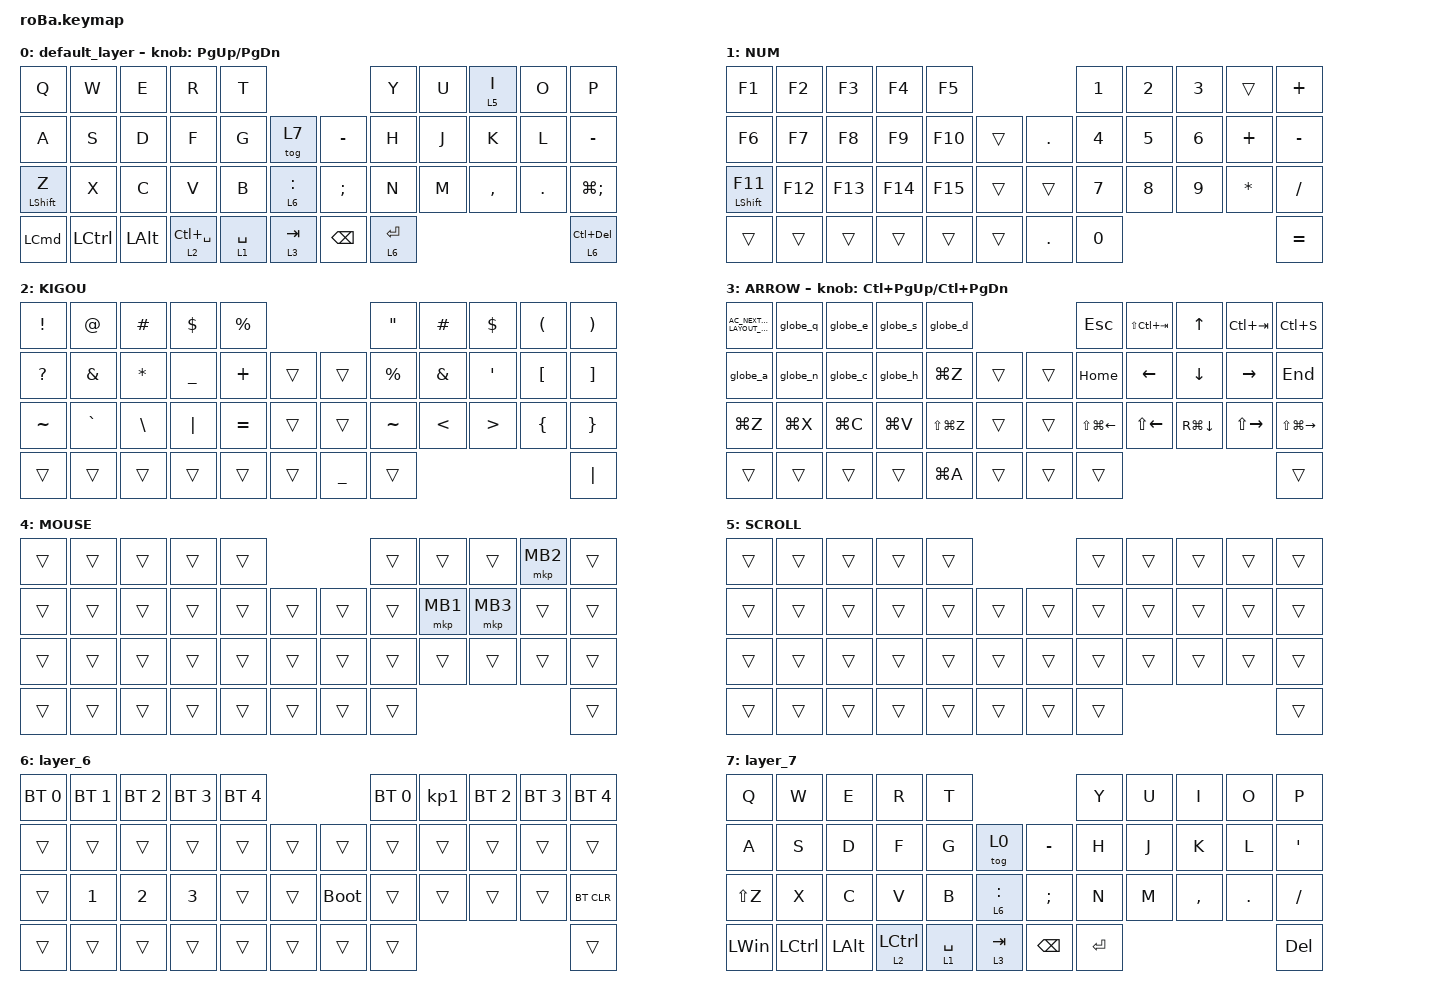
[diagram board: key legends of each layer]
#include <behaviors.dtsi>
#include <dt-bindings/zmk/bt.h>
#include <dt-bindings/zmk/keys.h>
#include <dt-bindings/zmk/pointing.h>

&mt {
    flavor = "balanced";
    quick-tap-ms = <0>;
};

&trackball {
    automouse-layer = <4>;
    scroll-layers = <5>;
};

/ {
    combos {
        compatible = "zmk,combos";

        tab {
            bindings = <&kp TAB>;
            key-positions = <11 12>;
        };

        shift_tab {
            bindings = <&kp LS(TAB)>;
            key-positions = <12 13>;
        };

        muhennkann {
            bindings = <&to_layer_0 INT_MUHENKAN>;
            key-positions = <11 10>;
        };

        double_quotation {
            bindings = <&kp DOUBLE_QUOTES>;
            key-positions = <20 21>;
        };

        eq {
            bindings = <&kp EQUAL>;
            key-positions = <24 25>;
        };
    };

    macros {
        to_layer_0: to_layer_0 {
            compatible = "zmk,behavior-macro-one-param";
            #binding-cells = <1>;
            bindings = <&to 0 &macro_param_1to1 &kp MACRO_PLACEHOLDER>;
            label = "TO_LAYER_0";
        };

        globe_h: globe_h {
            compatible = "zmk,behavior-macro";
            #binding-cells = <0>;
            wait-ms = <30>;
            tap-ms = <30>;
            bindings =
                <&macro_press>,
                <&kp C_AC_NEXT_KEYBOARD_LAYOUT_SELECT>,
                <&macro_tap>,
                <&kp H>,
                <&macro_release>,
                <&kp C_AC_NEXT_KEYBOARD_LAYOUT_SELECT>;

            label = "GLOBE_H";
        };

        globe_q: globe_q {
            compatible = "zmk,behavior-macro";
            #binding-cells = <0>;
            wait-ms = <30>;
            tap-ms = <30>;
            bindings =
                <&macro_press>,
                <&kp C_AC_NEXT_KEYBOARD_LAYOUT_SELECT>,
                <&macro_tap>,
                <&kp Q>,
                <&macro_release>,
                <&kp C_AC_NEXT_KEYBOARD_LAYOUT_SELECT>;

            label = "GLOBE_Q";
        };

        globe_s: globe_s {
            compatible = "zmk,behavior-macro";
            #binding-cells = <0>;
            wait-ms = <30>;
            tap-ms = <30>;
            bindings =
                <&macro_press>,
                <&kp C_AC_NEXT_KEYBOARD_LAYOUT_SELECT>,
                <&macro_tap>,
                <&kp S>,
                <&macro_release>,
                <&kp C_AC_NEXT_KEYBOARD_LAYOUT_SELECT>;

            label = "GLOBE_S";
        };

        globe_c: globe_c {
            compatible = "zmk,behavior-macro";
            #binding-cells = <0>;
            wait-ms = <30>;
            tap-ms = <30>;
            bindings =
                <&macro_press>,
                <&kp C_AC_NEXT_KEYBOARD_LAYOUT_SELECT>,
                <&macro_tap>,
                <&kp C>,
                <&macro_release>,
                <&kp C_AC_NEXT_KEYBOARD_LAYOUT_SELECT>;

            label = "GLOBE_C";
        };

        globe_n: globe_n {
            compatible = "zmk,behavior-macro";
            #binding-cells = <0>;
            wait-ms = <30>;
            tap-ms = <30>;
            bindings =
                <&macro_press>,
                <&kp C_AC_NEXT_KEYBOARD_LAYOUT_SELECT>,
                <&macro_tap>,
                <&kp N>,
                <&macro_release>,
                <&kp C_AC_NEXT_KEYBOARD_LAYOUT_SELECT>;

            label = "GLOBE_N";
        };

        globe_a: globe_a {
            compatible = "zmk,behavior-macro";
            #binding-cells = <0>;
            wait-ms = <30>;
            tap-ms = <30>;
            bindings =
                <&macro_press>,
                <&kp C_AC_NEXT_KEYBOARD_LAYOUT_SELECT>,
                <&macro_tap>,
                <&kp A>,
                <&macro_release>,
                <&kp C_AC_NEXT_KEYBOARD_LAYOUT_SELECT>;

            label = "GLOBE_A";
        };

        globe_e: globe_e {
            compatible = "zmk,behavior-macro";
            #binding-cells = <0>;
            wait-ms = <30>;
            tap-ms = <30>;
            bindings =
                <&macro_press>,
                <&kp C_AC_NEXT_KEYBOARD_LAYOUT_SELECT>,
                <&macro_tap>,
                <&kp E>,
                <&macro_release>,
                <&kp C_AC_NEXT_KEYBOARD_LAYOUT_SELECT>;

            label = "GLOBE_E";
        };

        globe_d: globe_d {
            compatible = "zmk,behavior-macro";
            #binding-cells = <0>;
            wait-ms = <30>;
            tap-ms = <30>;
            bindings =
                <&macro_press>,
                <&kp C_AC_NEXT_KEYBOARD_LAYOUT_SELECT>,
                <&macro_tap>,
                <&kp D>,
                <&macro_release>,
                <&kp C_AC_NEXT_KEYBOARD_LAYOUT_SELECT>;

            label = "GLOBE_D";
        };
    };

    behaviors {
        lt_to_layer_0: lt_to_layer_0 {
            compatible = "zmk,behavior-hold-tap";
            label = "LAYER_TAP_TO_0";
            bindings = <&mo>, <&to_layer_0>;

            #binding-cells = <2>;
            tapping-term-ms = <200>;
        };
    };

    keymap {
        compatible = "zmk,keymap";

        default_layer {
            bindings = <
&kp Q             &kp W             &kp E         &kp R            &kp T                                                   &kp Y        &kp U  &lt 5 I    &kp O    &kp P
&kp A             &kp S             &kp D         &kp F            &kp G        &tog 7                      &kp MINUS      &kp H        &kp J  &kp K      &kp L    &kp MINUS
&mt LEFT_SHIFT Z  &kp X             &kp C         &kp V            &kp B        &lt_to_layer_0 6 COLON      &kp SEMICOLON  &kp N        &kp M  &kp COMMA  &kp DOT  &kp LG(SEMI)
&kp LEFT_COMMAND  &kp LEFT_CONTROL  &kp LEFT_ALT  &lt 2 LC(SPACE)  &lt 1 SPACE  &lt 3 TAB                   &kp BACKSPACE  &lt 6 ENTER                             &lt 6 LC(DELETE)
            >;

            sensor-bindings = <&inc_dec_kp PG_UP PAGE_DOWN>;
        };

        NUM {
            bindings = <
&kp F1              &kp F2   &kp F3   &kp F4   &kp F5                           &kp NUMBER_1  &kp NUMBER_2  &kp NUMBER_3  &trans     &kp PLUS
&kp F6              &kp F7   &kp F8   &kp F9   &kp F10  &trans      &kp PERIOD  &kp NUMBER_4  &kp NUMBER_5  &kp NUMBER_6  &kp PLUS   &kp MINUS
&mt LEFT_SHIFT F11  &kp F12  &kp F13  &kp F14  &kp F15  &trans      &trans      &kp NUMBER_7  &kp NUMBER_8  &kp NUMBER_9  &kp ASTRK  &kp SLASH
&trans              &trans   &trans   &trans   &trans   &trans      &kp PERIOD  &kp NUMBER_0                                         &kp EQUAL
            >;
        };

        KIGOU {
            bindings = <
&kp EXCLAMATION  &kp AT     &kp HASH       &kp DOLLAR      &kp PERCENT                              &kp DOUBLE_QUOTES  &kp HASH       &kp DOLLAR        &kp LEFT_PARENTHESIS  &kp RIGHT_PARENTHESIS
&kp QUESTION     &kp AMPS   &kp ASTERISK   &kp UNDERSCORE  &kp PLUS     &trans      &trans          &kp PERCENT        &kp AMPERSAND  &kp SQT           &kp LEFT_BRACKET      &kp RIGHT_BRACKET
&kp TILDE        &kp GRAVE  &kp BACKSLASH  &kp PIPE        &kp EQUAL    &trans      &trans          &kp TILDE          &kp LESS_THAN  &kp GREATER_THAN  &kp LEFT_BRACE        &kp RIGHT_BRACE
&trans           &trans     &trans         &trans          &trans       &trans      &kp UNDERSCORE  &trans                                                                    &kp PIPE
            >;
        };

        ARROW {
            bindings = <
&kp C_AC_NEXT_KEYBOARD_LAYOUT_SELECT  &globe_q   &globe_e   &globe_s   &globe_d                           &kp ESCAPE              &kp LS(LC(TAB))     &kp UP_ARROW        &kp LC(TAB)          &kp LC(S)
&globe_a                              &globe_n   &globe_c   &globe_h   &kp LG(Z)      &trans      &trans  &kp HOME                &kp LEFT_ARROW      &kp DOWN_ARROW      &kp RIGHT_ARROW      &kp END
&kp LG(Z)                             &kp LG(X)  &kp LG(C)  &kp LG(V)  &kp LS(LG(Z))  &trans      &trans  &kp LS(LG(LEFT_ARROW))  &kp LS(LEFT_ARROW)  &kp RG(DOWN_ARROW)  &kp LS(RIGHT_ARROW)  &kp LS(LG(RIGHT_ARROW))
&trans                                &trans     &trans     &trans     &kp LG(A)      &trans      &trans  &trans                                                                               &trans
            >;

            sensor-bindings = <&inc_dec_kp LC(PAGE_UP) LC(PAGE_DOWN)>;
        };

        MOUSE {
            bindings = <
&trans  &trans  &trans  &trans  &trans                      &trans  &trans    &trans    &mkp MB2  &trans
&trans  &trans  &trans  &trans  &trans  &trans      &trans  &trans  &mkp MB1  &mkp MB3  &trans    &trans
&trans  &trans  &trans  &trans  &trans  &trans      &trans  &trans  &trans    &trans    &trans    &trans
&trans  &trans  &trans  &trans  &trans  &trans      &trans  &trans                                &trans
            >;
        };

        SCROLL {
            bindings = <
&trans  &trans  &trans  &trans  &trans                      &trans  &trans  &trans  &trans  &trans
&trans  &trans  &trans  &trans  &trans  &trans      &trans  &trans  &trans  &trans  &trans  &trans
&trans  &trans  &trans  &trans  &trans  &trans      &trans  &trans  &trans  &trans  &trans  &trans
&trans  &trans  &trans  &trans  &trans  &trans      &trans  &trans                          &trans
            >;
        };

        layer_6 {
            bindings = <
&bt BT_SEL 0  &bt BT_SEL 1  &bt BT_SEL 2  &bt BT_SEL 3  &bt BT_SEL 4                           &bt BT_SEL 0  &kp KP_N1  &bt BT_SEL 2  &bt BT_SEL 3  &bt BT_SEL 4
&trans        &trans        &trans        &trans        &trans        &trans      &trans       &trans        &trans     &trans        &trans        &trans
&trans        &kp NUMBER_1  &kp NUMBER_2  &kp NUMBER_3  &trans        &trans      &bootloader  &trans        &trans     &trans        &trans        &bt BT_CLR
&trans        &trans        &trans        &trans        &trans        &trans      &trans       &trans                                               &trans
            >;
        };

        layer_7 {
            bindings = <
&kp Q         &kp W      &kp E         &kp R               &kp T                                               &kp Y    &kp U  &kp I      &kp O    &kp P
&kp A         &kp S      &kp D         &kp F               &kp G        &tog 0                      &kp MINUS  &kp H    &kp J  &kp K      &kp L    &kp SQT
&kp LS(Z)     &kp X      &kp C         &kp V               &kp B        &lt_to_layer_0 6 COLON      &kp SEMI   &kp N    &kp M  &kp COMMA  &kp DOT  &kp FSLH
&kp LEFT_WIN  &kp LCTRL  &kp LEFT_ALT  &lt 2 LEFT_CONTROL  &lt 1 SPACE  &lt 3 TAB                   &kp BSPC   &kp RET                             &kp DEL
            >;
        };
    };
};
